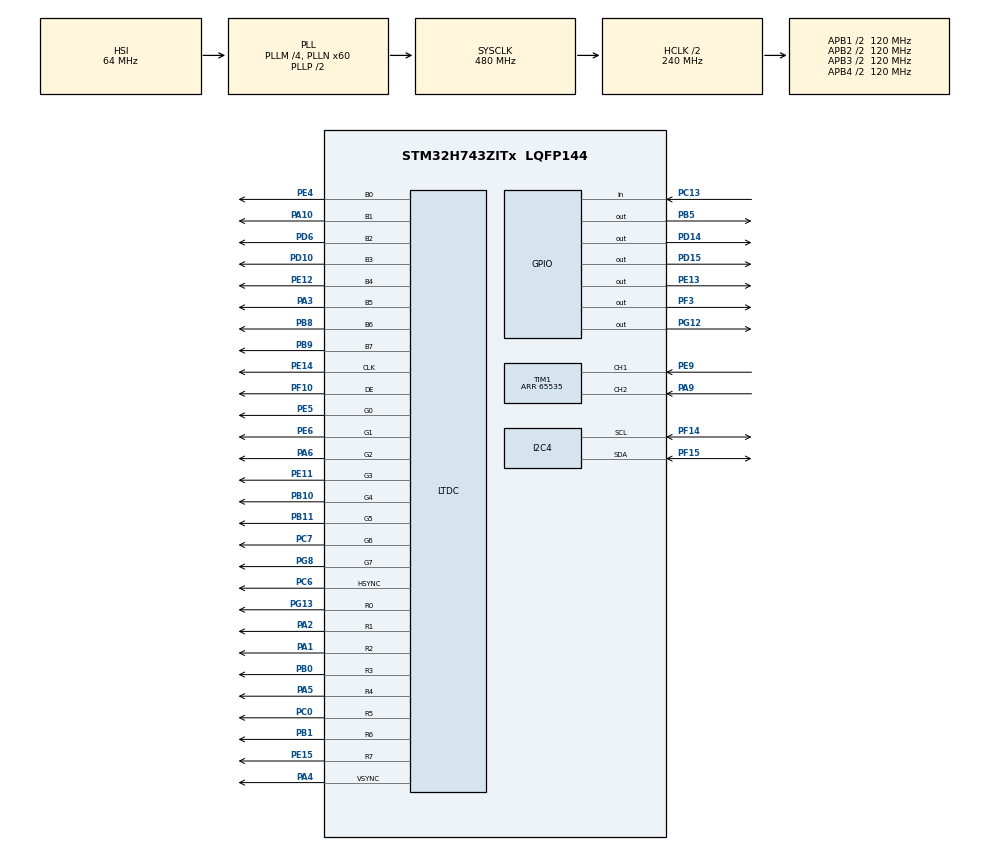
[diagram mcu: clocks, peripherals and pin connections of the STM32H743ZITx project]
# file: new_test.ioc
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CORTEX_M7.CPU_DCache=Disabled
CORTEX_M7.CPU_ICache=Disabled
CORTEX_M7.Enable-Cortex_Memory_Protection_Unit_Region0_Settings=MPU_REGION_ENABLE
CORTEX_M7.MPU_Control=__NULL
I2C4.Timing=0x307075B1
LTDC.ActiveH=272
LTDC.ActiveW=480
LTDC.Alpha0_L0=255
LTDC.Alpha_L0=255
LTDC.Blue_L0=255
LTDC.HBP=40
LTDC.HFP=5
LTDC.HSync=6
LTDC.ImageHeight_L0=270
LTDC.ImageWidth_L0=480
LTDC.Layers=0
LTDC.PixelFormat_L0=LTDC_PIXEL_FORMAT_L8
LTDC.VBP=4
LTDC.VFP=8
LTDC.VSync=4
LTDC.WindowX1_L0=480
LTDC.WindowY1_L0=272
Mcu.Family=STM32H7
Mcu.Name=STM32H743ZITx
Mcu.Package=LQFP144
NVIC.LTDC_ER_IRQn=true\:0\:0\:false\:false\:true\:true\:true
NVIC.LTDC_IRQn=true\:0\:0\:false\:false\:true\:true\:true
NVIC.PriorityGroup=NVIC_PRIORITYGROUP_4
PA1.Mode=RGB888
PA1.Signal=LTDC_R2
PA10.Mode=RGB888
PA10.Signal=LTDC_B1
PA2.Mode=RGB888
PA2.Signal=LTDC_R1
PA3.GPIO_Mode=GPIO_MODE_AF_PP
PA3.GPIO_PuPd=GPIO_NOPULL
PA3.GPIO_Speed=GPIO_SPEED_FREQ_VERY_HIGH
PA3.Mode=RGB888
PA3.Signal=LTDC_B5
PA4.GPIO_Mode=GPIO_MODE_AF_PP
PA4.GPIO_PuPd=GPIO_NOPULL
PA4.GPIO_Speed=GPIO_SPEED_FREQ_VERY_HIGH
PA4.Mode=RGB888
PA4.Signal=LTDC_VSYNC
PA5.GPIO_Mode=GPIO_MODE_AF_PP
PA5.GPIO_PuPd=GPIO_NOPULL
PA5.GPIO_Speed=GPIO_SPEED_FREQ_VERY_HIGH
PA5.Mode=RGB888
PA5.Signal=LTDC_R4
PA6.GPIO_Mode=GPIO_MODE_AF_PP
PA6.GPIO_PuPd=GPIO_NOPULL
PA6.GPIO_Speed=GPIO_SPEED_FREQ_VERY_HIGH
PA6.Mode=RGB888
PA6.Signal=LTDC_G2
PA9.GPIO_PuPd=GPIO_PULLUP
PA9.Signal=S_TIM1_CH2
PB0.GPIO_Mode=GPIO_MODE_AF_PP
PB0.GPIO_PuPd=GPIO_NOPULL
PB0.GPIO_Speed=GPIO_SPEED_FREQ_VERY_HIGH
PB0.Mode=RGB888
PB0.Signal=LTDC_R3
PB1.GPIO_Mode=GPIO_MODE_AF_PP
PB1.GPIO_PuPd=GPIO_NOPULL
PB1.GPIO_Speed=GPIO_SPEED_FREQ_VERY_HIGH
PB1.Mode=RGB888
PB1.Signal=LTDC_R6
PB10.GPIO_Mode=GPIO_MODE_AF_PP
PB10.GPIO_PuPd=GPIO_NOPULL
PB10.GPIO_Speed=GPIO_SPEED_FREQ_VERY_HIGH
PB10.Mode=RGB888
PB10.Signal=LTDC_G4
PB11.GPIO_Mode=GPIO_MODE_AF_PP
PB11.GPIO_PuPd=GPIO_NOPULL
PB11.GPIO_Speed=GPIO_SPEED_FREQ_VERY_HIGH
PB11.Mode=RGB888
PB11.Signal=LTDC_G5
PB5.Signal=GPIO_Output
PB8.GPIO_FM8=SYSCFG_PMCR_I2C_PB8_FMP
PB8.GPIO_Mode=GPIO_MODE_AF_PP
PB8.GPIO_PuPd=GPIO_NOPULL
PB8.GPIO_Speed=GPIO_SPEED_FREQ_VERY_HIGH
PB8.Mode=RGB888
PB8.Signal=LTDC_B6
PB9.GPIO_FM9=SYSCFG_PMCR_I2C_PB9_FMP
PB9.GPIO_Mode=GPIO_MODE_AF_PP
PB9.GPIO_PuPd=GPIO_NOPULL
PB9.GPIO_Speed=GPIO_SPEED_FREQ_VERY_HIGH
PB9.Mode=RGB888
PB9.Signal=LTDC_B7
PC0.GPIO_Mode=GPIO_MODE_AF_PP
PC0.GPIO_PuPd=GPIO_NOPULL
PC0.GPIO_Speed=GPIO_SPEED_FREQ_VERY_HIGH
PC0.Mode=RGB888
PC0.Signal=LTDC_R5
PC13.Signal=GPIO_Input
PC6.GPIO_Mode=GPIO_MODE_AF_PP
PC6.GPIO_PuPd=GPIO_NOPULL
PC6.GPIO_Speed=GPIO_SPEED_FREQ_VERY_HIGH
PC6.Mode=RGB888
PC6.Signal=LTDC_HSYNC
PC7.GPIO_Mode=GPIO_MODE_AF_PP
PC7.GPIO_PuPd=GPIO_NOPULL
PC7.GPIO_Speed=GPIO_SPEED_FREQ_VERY_HIGH
PC7.Mode=RGB888
PC7.Signal=LTDC_G6
PD10.GPIO_Mode=GPIO_MODE_AF_PP
PD10.GPIO_PuPd=GPIO_NOPULL
PD10.GPIO_Speed=GPIO_SPEED_FREQ_VERY_HIGH
PD10.Mode=RGB888
PD10.Signal=LTDC_B3
PD14.Signal=GPIO_Output
PD15.Signal=GPIO_Output
PD6.Mode=RGB888
PD6.Signal=LTDC_B2
PE11.GPIO_Mode=GPIO_MODE_AF_PP
PE11.GPIO_PuPd=GPIO_NOPULL
PE11.GPIO_Speed=GPIO_SPEED_FREQ_VERY_HIGH
PE11.Mode=RGB888
PE11.Signal=LTDC_G3
PE12.GPIO_Mode=GPIO_MODE_AF_PP
PE12.GPIO_PuPd=GPIO_NOPULL
PE12.GPIO_Speed=GPIO_SPEED_FREQ_VERY_HIGH
PE12.Mode=RGB888
PE12.Signal=LTDC_B4
PE13.Signal=GPIO_Output
PE14.GPIO_Mode=GPIO_MODE_AF_PP
PE14.GPIO_PuPd=GPIO_NOPULL
PE14.GPIO_Speed=GPIO_SPEED_FREQ_VERY_HIGH
PE14.Mode=RGB888
PE14.Signal=LTDC_CLK
PE15.GPIO_Mode=GPIO_MODE_AF_PP
PE15.GPIO_PuPd=GPIO_NOPULL
PE15.GPIO_Speed=GPIO_SPEED_FREQ_VERY_HIGH
PE15.Mode=RGB888
PE15.Signal=LTDC_R7
PE4.Mode=RGB888
PE4.Signal=LTDC_B0
PE5.Mode=RGB888
PE5.Signal=LTDC_G0
PE6.Mode=RGB888
PE6.Signal=LTDC_G1
PE9.GPIO_PuPd=GPIO_PULLUP
PE9.Signal=S_TIM1_CH1
PF10.GPIO_Mode=GPIO_MODE_AF_PP
PF10.GPIO_PuPd=GPIO_NOPULL
PF10.GPIO_Speed=GPIO_SPEED_FREQ_VERY_HIGH
PF10.Mode=RGB888
PF10.Signal=LTDC_DE
PF14.Mode=I2C
PF14.Signal=I2C4_SCL
PF15.Mode=I2C
PF15.Signal=I2C4_SDA
PF3.Signal=GPIO_Output
PG12.Signal=GPIO_Output
PG13.Mode=RGB888
PG13.Signal=LTDC_R0
PG8.GPIO_Mode=GPIO_MODE_AF_PP
PG8.GPIO_PuPd=GPIO_NOPULL
PG8.GPIO_Speed=GPIO_SPEED_FREQ_VERY_HIGH
PG8.Mode=RGB888
PG8.Signal=LTDC_G7
ProjectManager.HeapSize=0x200
ProjectManager.StackSize=0x400
ProjectManager.TargetToolchain=STM32CubeIDE
RCC.ADCFreq_Value=129000000
RCC.APB1Freq_Value=120000000
RCC.APB2Freq_Value=120000000
RCC.APB3Freq_Value=120000000
RCC.APB4Freq_Value=120000000
RCC.CortexFreq_Value=480000000
RCC.D1PPRE=RCC_APB3_DIV2
RCC.D2PPRE1=RCC_APB1_DIV2
RCC.D2PPRE2=RCC_APB2_DIV2
RCC.D3PPRE=RCC_APB4_DIV2
RCC.DIVM1=4
RCC.DIVM3=1
RCC.DIVN1=60
RCC.DIVN3=4
RCC.DIVR3=23
RCC.HCLKFreq_Value=240000000
RCC.HPRE=RCC_HCLK_DIV2
RCC.PLL3FRACN=2560
RCC.PLLFRACN=0
RCC.SYSCLKFreq_VALUE=480000000
RCC.SYSCLKSource=RCC_SYSCLKSOURCE_PLLCLK
RCC.USBFreq_Value=480000000
SH.S_TIM1_CH1.0=TIM1_CH1,Encoder_Interface
SH.S_TIM1_CH2.0=TIM1_CH2,Encoder_Interface
TIM1.EncoderMode=TIM_ENCODERMODE_TI12
TIM1.IC1Filter=10
TIM1.IC2Filter=10
TIM1.Period=65535
board=custom

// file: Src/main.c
/* USER CODE BEGIN Header */
/**
  ******************************************************************************
  * @file           : main.c
  * @brief          : Main program body
  ******************************************************************************
  * @attention
  *
  * <h2><center>&copy; Copyright (c) 2019 STMicroelectronics.
  * All rights reserved.</center></h2>
  *
  * This software component is licensed by ST under BSD 3-Clause license,
  * the "License"; You may not use this file except in compliance with the
  * License. You may obtain a copy of the License at:
  *                        opensource.org/licenses/BSD-3-Clause
  *
  ******************************************************************************
  */
/* USER CODE END Header */

#include "main.h"

/* USER CODE BEGIN Includes */
#include <math.h>
#include <string.h>
#include <stdio.h>
#include "font.h"
#include "gfx.h"
#include "gui.h"
#include "smile.h"
#include "runner.h"
#include "daughter.h"
/* USER CODE END Includes */

/* USER CODE BEGIN PD */
#define HT16K33_BLINK_CMD 0x80
#define HT16K33_BLINK_DISPLAYON 0x01
#define HT16K33_BLINK_OFF 0
#define HT16K33_BLINK_2HZ 1
#define HT16K33_BLINK_1HZ 2
#define HT16K33_BLINK_HALFHZ 3
#define HT16K33_CMD_BRIGHTNESS 0xE0
/* USER CODE END PD */

I2C_HandleTypeDef hi2c4;

LTDC_HandleTypeDef hltdc;

TIM_HandleTypeDef htim1;

void SystemClock_Config(void);
static void MX_GPIO_Init(void);
static void MX_LTDC_Init(void);
static void MX_I2C4_Init(void);
static void MX_TIM1_Init(void);

/* USER CODE BEGIN 0 */

uint8_t framebuffer1[480*272];
uint8_t framebuffer2[480*272];

uint16_t counter = 0;

daughter_board_t dboard;

/* USER CODE END 0 */

int main(void)
{
  /* USER CODE BEGIN 1 */
	enum InterfacePage currentPage;
  /* USER CODE END 1 */

  /* MCU Configuration--------------------------------------------------------*/

  /* Reset of all peripherals, Initializes the Flash interface and the Systick. */
  HAL_Init();

  /* Configure the system clock */
  SystemClock_Config();

  /* Initialize all configured peripherals */
  MX_GPIO_Init();
  MX_LTDC_Init();
  MX_I2C4_Init();
  MX_TIM1_Init();

  /* Infinite loop */
  /* USER CODE BEGIN WHILE */

  currentPage = startup;

  int prev = 0;
  int cur = 0;
  int led = 0;

  uint8_t data[] = {
		  0x0,
		  0x0,
		  0x0,
		  0x0,
		  0x0,
		  0x0,
		  0x0,
		  0x0,
		  0x0,
		  0x0,
		  0x0,
		  0x0,
		  0x0,
		  0x0,
		  0x0,
		  0x0
  };

  uint8_t osc_command = 0x21;

  uint8_t blink_command = HT16K33_BLINK_CMD | HT16K33_BLINK_DISPLAYON;

  uint8_t brightness_command = HT16K33_CMD_BRIGHTNESS | 15;

  uint8_t begin_addr = 0x0;

  HAL_I2C_Master_Transmit(&hi2c4, 0x70 << 1, &osc_command, 1, 1000000);
  HAL_I2C_Master_Transmit(&hi2c4, 0x70 << 1, &blink_command, 1, 1000000);
  HAL_I2C_Master_Transmit(&hi2c4, 0x70 << 1, &brightness_command, 1, 100000);

  uint8_t* currentFB = &framebuffer1[0];

  HAL_LTDC_SetAddress(&hltdc, (uint32_t)(currentFB), 0);

  //HAL_I2C_Mem_Write(&hi2c1, 0x70, 0x0, 4, &(data[0]), 4, 100000);

  ClearScreen(currentFB);

  HAL_TIM_Encoder_Start(&htim1,TIM_CHANNEL_ALL);

  int count = 0;
  char message[128];

  dboard.regfile = 1;
  dboard.rs1 = 1;
  dboard.rs2 = 1;
  dboard.memory = 0;
  dboard.alu = 1;
  dboard.imm = 0;
  set_daughter_state(&dboard);

  while (1)
  {

    /* USER CODE END WHILE */

    /* USER CODE BEGIN 3 */

	  if (counter == 500)
	  {
		  ClearScreen(currentFB);
		  currentPage = home;
		  init(&hi2c4, currentFB);
		  run_forwards(&hi2c4, currentFB);
	  }
	  DrawMenu(currentPage, &hi2c4, currentFB, counter);

	  /*
	  if(counter % 2 == 0){
		  currentFB = &(framebuffer1[0]);
	  } else {
		  currentFB = &(framebuffer2[0]);
	  }
		*/

	 HAL_LTDC_SetAddress(&hltdc, (uint32_t)(currentFB), 0);

	 counter+=1;

  }
  /* USER CODE END 3 */
}

void SystemClock_Config(void)
{
  RCC_OscInitTypeDef RCC_OscInitStruct = {0};
  RCC_ClkInitTypeDef RCC_ClkInitStruct = {0};
  RCC_PeriphCLKInitTypeDef PeriphClkInitStruct = {0};

  /** Supply configuration update enable
  */
  HAL_PWREx_ConfigSupply(PWR_LDO_SUPPLY);
  /** Configure the main internal regulator output voltage
  */
  __HAL_PWR_VOLTAGESCALING_CONFIG(PWR_REGULATOR_VOLTAGE_SCALE0);

  while(!__HAL_PWR_GET_FLAG(PWR_FLAG_VOSRDY)) {}
  /** Macro to configure the PLL clock source
  */
  __HAL_RCC_PLL_PLLSOURCE_CONFIG(RCC_PLLSOURCE_HSI);
  /** Initializes the CPU, AHB and APB busses clocks
  */
  RCC_OscInitStruct.OscillatorType = RCC_OSCILLATORTYPE_HSI;
  RCC_OscInitStruct.HSIState = RCC_HSI_DIV1;
  RCC_OscInitStruct.HSICalibrationValue = RCC_HSICALIBRATION_DEFAULT;
  RCC_OscInitStruct.PLL.PLLState = RCC_PLL_ON;
  RCC_OscInitStruct.PLL.PLLSource = RCC_PLLSOURCE_HSI;
  RCC_OscInitStruct.PLL.PLLM = 4;
  RCC_OscInitStruct.PLL.PLLN = 60;
  RCC_OscInitStruct.PLL.PLLP = 2;
  RCC_OscInitStruct.PLL.PLLQ = 2;
  RCC_OscInitStruct.PLL.PLLR = 2;
  RCC_OscInitStruct.PLL.PLLRGE = RCC_PLL1VCIRANGE_3;
  RCC_OscInitStruct.PLL.PLLVCOSEL = RCC_PLL1VCOWIDE;
  RCC_OscInitStruct.PLL.PLLFRACN = 0;
  if (HAL_RCC_OscConfig(&RCC_OscInitStruct) != HAL_OK)
  {
    Error_Handler();
  }
  /** Initializes the CPU, AHB and APB busses clocks
  */
  RCC_ClkInitStruct.ClockType = RCC_CLOCKTYPE_HCLK|RCC_CLOCKTYPE_SYSCLK
                              |RCC_CLOCKTYPE_PCLK1|RCC_CLOCKTYPE_PCLK2
                              |RCC_CLOCKTYPE_D3PCLK1|RCC_CLOCKTYPE_D1PCLK1;
  RCC_ClkInitStruct.SYSCLKSource = RCC_SYSCLKSOURCE_PLLCLK;
  RCC_ClkInitStruct.SYSCLKDivider = RCC_SYSCLK_DIV1;
  RCC_ClkInitStruct.AHBCLKDivider = RCC_HCLK_DIV2;
  RCC_ClkInitStruct.APB3CLKDivider = RCC_APB3_DIV2;
  RCC_ClkInitStruct.APB1CLKDivider = RCC_APB1_DIV2;
  RCC_ClkInitStruct.APB2CLKDivider = RCC_APB2_DIV2;
  RCC_ClkInitStruct.APB4CLKDivider = RCC_APB4_DIV2;

  if (HAL_RCC_ClockConfig(&RCC_ClkInitStruct, FLASH_LATENCY_4) != HAL_OK)
  {
    Error_Handler();
  }
  PeriphClkInitStruct.PeriphClockSelection = RCC_PERIPHCLK_LTDC|RCC_PERIPHCLK_I2C4;
  PeriphClkInitStruct.PLL3.PLL3M = 1;
  PeriphClkInitStruct.PLL3.PLL3N = 4;
  PeriphClkInitStruct.PLL3.PLL3P = 2;
  PeriphClkInitStruct.PLL3.PLL3Q = 2;
  PeriphClkInitStruct.PLL3.PLL3R = 23;
  PeriphClkInitStruct.PLL3.PLL3RGE = RCC_PLL3VCIRANGE_3;
  PeriphClkInitStruct.PLL3.PLL3VCOSEL = RCC_PLL3VCOWIDE;
  PeriphClkInitStruct.PLL3.PLL3FRACN = 2560;
  PeriphClkInitStruct.I2c4ClockSelection = RCC_I2C4CLKSOURCE_D3PCLK1;
  if (HAL_RCCEx_PeriphCLKConfig(&PeriphClkInitStruct) != HAL_OK)
  {
    Error_Handler();
  }
}

static void MX_I2C4_Init(void)
{

  hi2c4.Instance = I2C4;
  hi2c4.Init.Timing = 0x307075B1;
  hi2c4.Init.OwnAddress1 = 0;
  hi2c4.Init.AddressingMode = I2C_ADDRESSINGMODE_7BIT;
  hi2c4.Init.DualAddressMode = I2C_DUALADDRESS_DISABLE;
  hi2c4.Init.OwnAddress2 = 0;
  hi2c4.Init.OwnAddress2Masks = I2C_OA2_NOMASK;
  hi2c4.Init.GeneralCallMode = I2C_GENERALCALL_DISABLE;
  hi2c4.Init.NoStretchMode = I2C_NOSTRETCH_DISABLE;
  if (HAL_I2C_Init(&hi2c4) != HAL_OK)
  {
    Error_Handler();
  }
  /** Configure Analogue filter
  */
  if (HAL_I2CEx_ConfigAnalogFilter(&hi2c4, I2C_ANALOGFILTER_ENABLE) != HAL_OK)
  {
    Error_Handler();
  }
  /** Configure Digital filter
  */
  if (HAL_I2CEx_ConfigDigitalFilter(&hi2c4, 0) != HAL_OK)
  {
    Error_Handler();
  }

}

static void MX_LTDC_Init(void)
{

  LTDC_LayerCfgTypeDef pLayerCfg = {0};

  hltdc.Instance = LTDC;
  hltdc.Init.HSPolarity = LTDC_HSPOLARITY_AL;
  hltdc.Init.VSPolarity = LTDC_VSPOLARITY_AL;
  hltdc.Init.DEPolarity = LTDC_DEPOLARITY_AL;
  hltdc.Init.PCPolarity = LTDC_PCPOLARITY_IPC;
  hltdc.Init.HorizontalSync = 5;
  hltdc.Init.VerticalSync = 3;
  hltdc.Init.AccumulatedHBP = 45;
  hltdc.Init.AccumulatedVBP = 7;
  hltdc.Init.AccumulatedActiveW = 525;
  hltdc.Init.AccumulatedActiveH = 279;
  hltdc.Init.TotalWidth = 530;
  hltdc.Init.TotalHeigh = 287;
  hltdc.Init.Backcolor.Blue = 0;
  hltdc.Init.Backcolor.Green = 0;
  hltdc.Init.Backcolor.Red = 0;
  if (HAL_LTDC_Init(&hltdc) != HAL_OK)
  {
    Error_Handler();
  }
  pLayerCfg.WindowX0 = 0;
  pLayerCfg.WindowX1 = 480;
  pLayerCfg.WindowY0 = 0;
  pLayerCfg.WindowY1 = 272;
  pLayerCfg.PixelFormat = LTDC_PIXEL_FORMAT_L8;
  pLayerCfg.Alpha = 255;
  pLayerCfg.Alpha0 = 255;
  pLayerCfg.BlendingFactor1 = LTDC_BLENDING_FACTOR1_CA;
  pLayerCfg.BlendingFactor2 = LTDC_BLENDING_FACTOR2_CA;
  pLayerCfg.FBStartAdress = 0;
  pLayerCfg.ImageWidth = 480;
  pLayerCfg.ImageHeight = 270;
  pLayerCfg.Backcolor.Blue = 255;
  pLayerCfg.Backcolor.Green = 0;
  pLayerCfg.Backcolor.Red = 0;
  if (HAL_LTDC_ConfigLayer(&hltdc, &pLayerCfg, 0) != HAL_OK)
  {
    Error_Handler();
  }

}

static void MX_TIM1_Init(void)
{

  TIM_Encoder_InitTypeDef sConfig = {0};
  TIM_MasterConfigTypeDef sMasterConfig = {0};

  htim1.Instance = TIM1;
  htim1.Init.Prescaler = 0;
  htim1.Init.CounterMode = TIM_COUNTERMODE_UP;
  htim1.Init.Period = 65535;
  htim1.Init.ClockDivision = TIM_CLOCKDIVISION_DIV1;
  htim1.Init.RepetitionCounter = 0;
  htim1.Init.AutoReloadPreload = TIM_AUTORELOAD_PRELOAD_DISABLE;
  sConfig.EncoderMode = TIM_ENCODERMODE_TI12;
  sConfig.IC1Polarity = TIM_ICPOLARITY_RISING;
  sConfig.IC1Selection = TIM_ICSELECTION_DIRECTTI;
  sConfig.IC1Prescaler = TIM_ICPSC_DIV1;
  sConfig.IC1Filter = 10;
  sConfig.IC2Polarity = TIM_ICPOLARITY_RISING;
  sConfig.IC2Selection = TIM_ICSELECTION_DIRECTTI;
  sConfig.IC2Prescaler = TIM_ICPSC_DIV1;
  sConfig.IC2Filter = 10;
  if (HAL_TIM_Encoder_Init(&htim1, &sConfig) != HAL_OK)
  {
    Error_Handler();
  }
  sMasterConfig.MasterOutputTrigger = TIM_TRGO_RESET;
  sMasterConfig.MasterOutputTrigger2 = TIM_TRGO2_RESET;
  sMasterConfig.MasterSlaveMode = TIM_MASTERSLAVEMODE_DISABLE;
  if (HAL_TIMEx_MasterConfigSynchronization(&htim1, &sMasterConfig) != HAL_OK)
  {
    Error_Handler();
  }

}

static void MX_GPIO_Init(void)
{
  GPIO_InitTypeDef GPIO_InitStruct = {0};

  /* GPIO Ports Clock Enable */
  __HAL_RCC_GPIOE_CLK_ENABLE();
  __HAL_RCC_GPIOC_CLK_ENABLE();
  __HAL_RCC_GPIOF_CLK_ENABLE();
  __HAL_RCC_GPIOA_CLK_ENABLE();
  __HAL_RCC_GPIOB_CLK_ENABLE();
  __HAL_RCC_GPIOD_CLK_ENABLE();
  __HAL_RCC_GPIOG_CLK_ENABLE();

  /*Configure GPIO pin Output Level */
  HAL_GPIO_WritePin(GPIOF, GPIO_PIN_3, GPIO_PIN_RESET);

  /*Configure GPIO pin Output Level */
  HAL_GPIO_WritePin(GPIOE, GPIO_PIN_13, GPIO_PIN_RESET);

  /*Configure GPIO pin Output Level */
  HAL_GPIO_WritePin(GPIOD, GPIO_PIN_14|GPIO_PIN_15, GPIO_PIN_RESET);

  /*Configure GPIO pin Output Level */
  HAL_GPIO_WritePin(GPIOG, GPIO_PIN_12, GPIO_PIN_RESET);

  /*Configure GPIO pin Output Level */
  HAL_GPIO_WritePin(GPIOB, GPIO_PIN_5, GPIO_PIN_RESET);

  /*Configure GPIO pin : PC13 */
  GPIO_InitStruct.Pin = GPIO_PIN_13;
  GPIO_InitStruct.Mode = GPIO_MODE_INPUT;
  GPIO_InitStruct.Pull = GPIO_NOPULL;
  HAL_GPIO_Init(GPIOC, &GPIO_InitStruct);

  /*Configure GPIO pin : PF3 */
  GPIO_InitStruct.Pin = GPIO_PIN_3;
  GPIO_InitStruct.Mode = GPIO_MODE_OUTPUT_PP;
  GPIO_InitStruct.Pull = GPIO_NOPULL;
  GPIO_InitStruct.Speed = GPIO_SPEED_FREQ_LOW;
  HAL_GPIO_Init(GPIOF, &GPIO_InitStruct);

  /*Configure GPIO pin : PE13 */
  GPIO_InitStruct.Pin = GPIO_PIN_13;
  GPIO_InitStruct.Mode = GPIO_MODE_OUTPUT_PP;
  GPIO_InitStruct.Pull = GPIO_NOPULL;
  GPIO_InitStruct.Speed = GPIO_SPEED_FREQ_LOW;
  HAL_GPIO_Init(GPIOE, &GPIO_InitStruct);

  /*Configure GPIO pins : PD14 PD15 */
  GPIO_InitStruct.Pin = GPIO_PIN_14|GPIO_PIN_15;
  GPIO_InitStruct.Mode = GPIO_MODE_OUTPUT_PP;
  GPIO_InitStruct.Pull = GPIO_NOPULL;
  GPIO_InitStruct.Speed = GPIO_SPEED_FREQ_LOW;
  HAL_GPIO_Init(GPIOD, &GPIO_InitStruct);

  /*Configure GPIO pin : PG12 */
  GPIO_InitStruct.Pin = GPIO_PIN_12;
  GPIO_InitStruct.Mode = GPIO_MODE_OUTPUT_PP;
  GPIO_InitStruct.Pull = GPIO_NOPULL;
  GPIO_InitStruct.Speed = GPIO_SPEED_FREQ_LOW;
  HAL_GPIO_Init(GPIOG, &GPIO_InitStruct);

  /*Configure GPIO pin : PB5 */
  GPIO_InitStruct.Pin = GPIO_PIN_5;
  GPIO_InitStruct.Mode = GPIO_MODE_OUTPUT_PP;
  GPIO_InitStruct.Pull = GPIO_NOPULL;
  GPIO_InitStruct.Speed = GPIO_SPEED_FREQ_LOW;
  HAL_GPIO_Init(GPIOB, &GPIO_InitStruct);

}

void Error_Handler(void)
{
}

/************************ (C) COPYRIGHT STMicroelectronics *****END OF FILE****/
